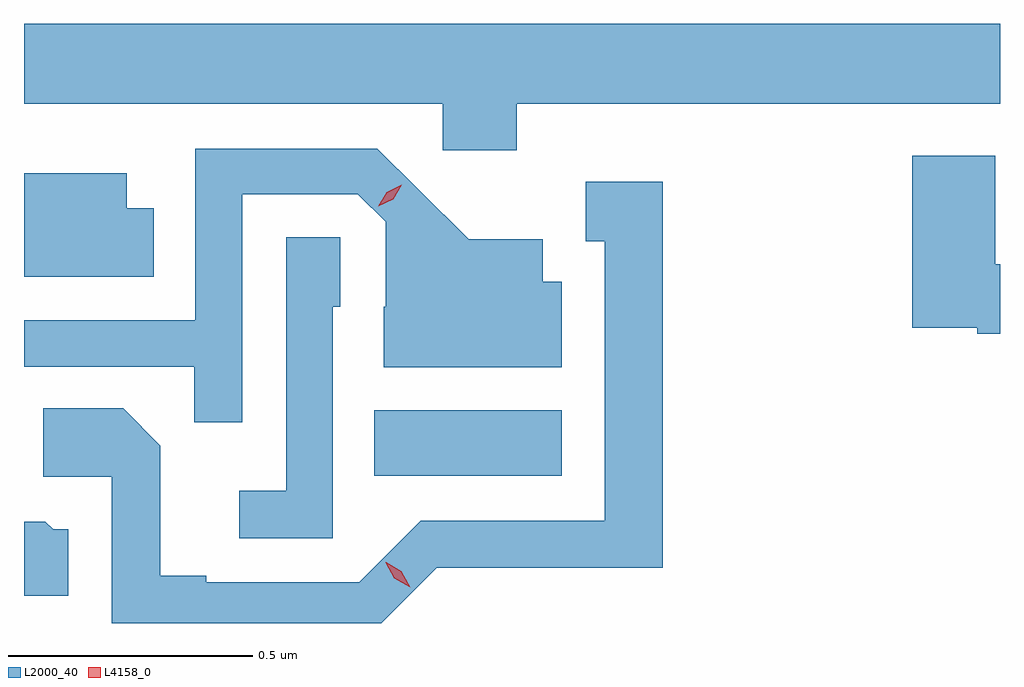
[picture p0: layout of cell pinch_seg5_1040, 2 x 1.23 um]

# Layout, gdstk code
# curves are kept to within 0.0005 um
import gdstk
lib = gdstk.Library(unit=1e-6, precision=1e-09)
def R(c, l, rs):  # rectangles x0, y0, x1, y1
    for r in rs: c.add(gdstk.rectangle(r[:2], r[2:], *l))
def P(c, l, *ps):  # polygons
    for p in ps: c.add(gdstk.Polygon(p, *l))
L2000_40 = (2000, 40)
L4158_0 = (4158, 0)

pinch_seg5_1040 = lib.new_cell('pinch_seg5_1040')
R(pinch_seg5_1040, L2000_40, [(699.916,841.346,700.3,841.48)])
P(pinch_seg5_1040, L2000_40, [(700.208,842.108),(701.198,842.108),(701.198,842.272),(699.198,842.272),(699.198,842.108),(700.056,842.108),(700.056,842.013),(700.208,842.013)],
  [(699.645,841.923),(699.882,841.923),(699.939,841.866),(699.939,841.692),(699.935,841.692),(699.935,841.568),(700.3,841.568),(700.3,841.744),(700.261,841.744),(700.261,841.831),(700.109,841.831),(699.922,842.016),(699.549,842.016),(699.549,841.665),(699.198,841.665),(699.198,841.569),(699.547,841.569),(699.547,841.456),(699.645,841.456)],
  [(701.198,841.779),(701.188,841.779),(701.188,842.002),(701.018,842.002),(701.018,841.649),(701.151,841.649),(701.151,841.637),(701.198,841.637)],
  [(699.464,841.894),(699.409,841.894),(699.409,841.966),(699.198,841.966),(699.198,841.754),(699.464,841.754)],
  [(700.044,841.158),(700.266,841.158),(700.266,841.157),(700.507,841.157),(700.507,841.948),(700.349,841.948),(700.349,841.827),(700.388,841.827),(700.388,841.254),(700.011,841.254),(699.885,841.128),(699.571,841.128),(699.571,841.141),(699.477,841.141),(699.477,841.408),(699.401,841.484),(699.237,841.484),(699.237,841.344),(699.378,841.344),(699.378,841.044),(699.93,841.044)],
  [(699.831,841.692),(699.846,841.692),(699.846,841.835),(699.735,841.835),(699.735,841.315),(699.639,841.315),(699.639,841.218),(699.831,841.218)],
  [(699.289,841.236),(699.258,841.236),(699.242,841.252),(699.198,841.252),(699.198,841.1),(699.289,841.1)])
P(pinch_seg5_1040, L4158_0, [(699.989,841.118),(699.957,841.136),(699.939,841.168),(699.939,841.169),(699.94,841.169),(699.971,841.15),(699.989,841.118),(699.989,841.118)],
  [(699.924,841.898),(699.924,841.898),(699.941,841.927),(699.972,841.942),(699.972,841.942),(699.972,841.942),(699.955,841.913),(699.924,841.898)])

lib.write_gds('pinch_seg5_1040.gds')
